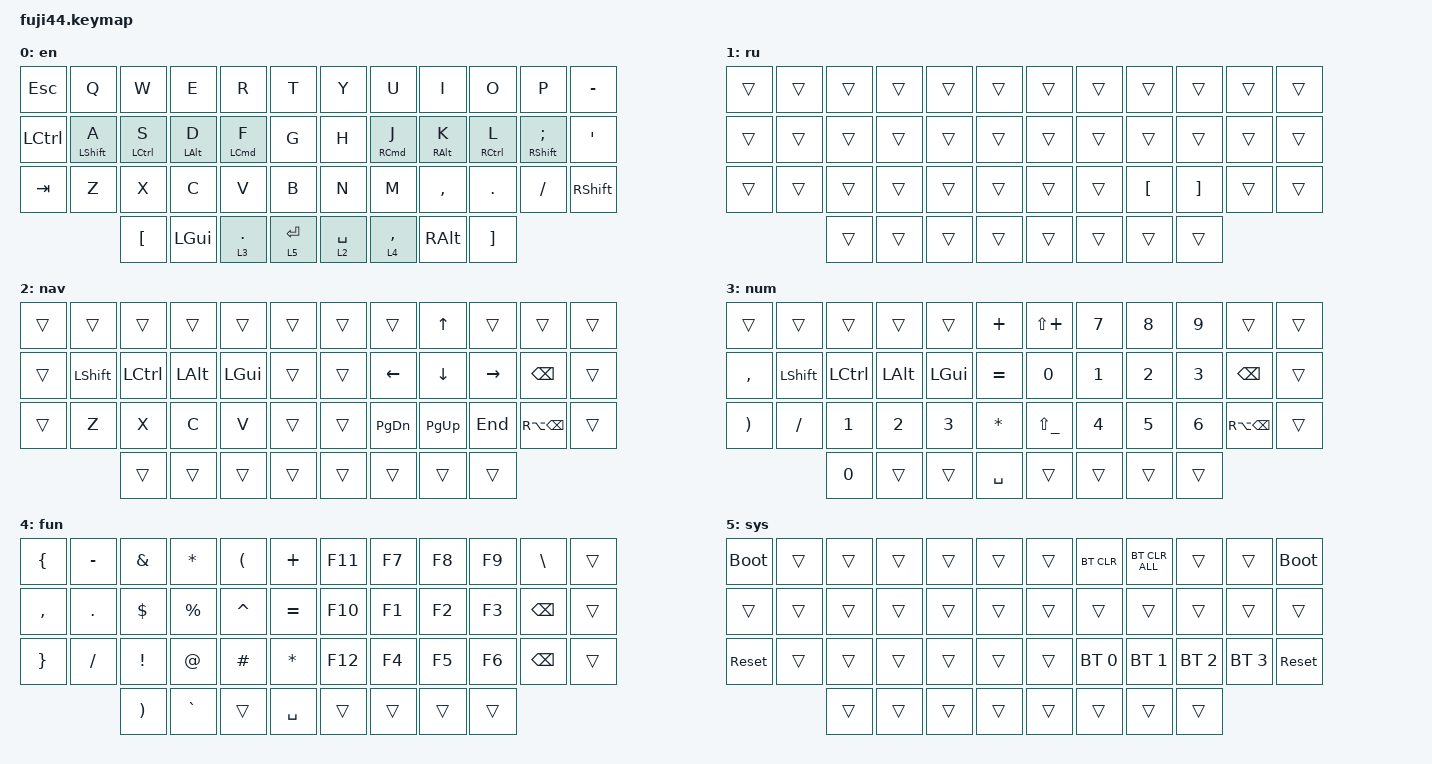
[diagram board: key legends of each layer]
/*
 * Copyright (c) 2020 The ZMK Contributors
 *
 * SPDX-License-Identifier: MIT
 */

#include <behaviors.dtsi>
#include <dt-bindings/zmk/bt.h>
#include <dt-bindings/zmk/keys.h>

/ {
    combos {
        compatible = "zmk,combos";

        combo_esc {
            timeout-ms = <50>;
            key-positions = <0 1>;
            bindings = <&kp ESC>;
        };
    };

    behaviors {
        ss_hs_modmorph: ss_hs_modmorph {
            compatible = "zmk,behavior-mod-morph";
            label = "SS_HS_MODMORPH";
            bindings = <&kp M>, <&kp RIGHT_BRACKET>;

            #binding-cells = <0>;
            mods = <(MOD_LSFT|MOD_RSFT)>;
        };

        kh_hs_tapdance: kh_hs_tapdance {
            compatible = "zmk,behavior-tap-dance";
            label = "KH_HS_TAPDANCE";
            #binding-cells = <0>;
            tapping-term-ms = <200>;
            bindings = <&kp LEFT_BRACKET>, <&kp RIGHT_BRACKET>;
        };

        hrm: hrm {
            compatible = "zmk,behavior-hold-tap";
            #binding-cells = <2>;
            flavor = "tap-preferred";
            tapping-term-ms = <200>;
            quick-tap-ms = <200>;
            require-prior-idle-ms = <125>;
            bindings = <&kp>, <&kp>;
        };
    };

    keymap {
        compatible = "zmk,keymap";

        en {
            bindings = <
&kp ESC    &kp Q              &kp W             &kp E            &kp R                &kp T          &kp Y        &kp U                 &kp I             &kp O              &kp P                       &kp MINUS
&kp LCTRL  &hrm LEFT_SHIFT A  &hrm LCTRL S      &hrm LEFT_ALT D  &hrm LEFT_COMMAND F  &kp G          &kp H        &hrm RIGHT_COMMAND J  &hrm RIGHT_ALT K  &hrm RCTRL L       &hrm RIGHT_SHIFT SEMICOLON  &kp SQT
&kp TAB    &kp Z              &kp X             &kp C            &kp V                &kp B          &kp N        &kp M                 &kp COMMA         &kp DOT            &kp FSLH                    &kp RIGHT_SHIFT
                              &kp LEFT_BRACKET  &kp LGUI         &lt 3 DOT            &lt 5 ENTER    &lt 2 SPACE  &lt 4 COMMA           &kp RALT          &kp RIGHT_BRACKET
            >;
        };

        ru {
            bindings = <
&trans  &trans  &trans  &trans  &trans  &trans    &trans  &trans  &trans            &trans             &trans  &trans
&trans  &trans  &trans  &trans  &trans  &trans    &trans  &trans  &trans            &trans             &trans  &trans
&trans  &trans  &trans  &trans  &trans  &trans    &trans  &trans  &kp LEFT_BRACKET  &kp RIGHT_BRACKET  &trans  &trans
                &trans  &trans  &trans  &trans    &trans  &trans  &trans            &trans
            >;
        };

        nav {
            bindings = <
&trans  &trans     &trans     &trans    &trans    &trans    &trans  &trans         &kp UP     &trans     &trans        &trans
&trans  &kp LSHFT  &kp LCTRL  &kp LALT  &kp LGUI  &trans    &trans  &kp LEFT       &kp DOWN   &kp RIGHT  &kp BSPC      &trans
&trans  &kp Z      &kp X      &kp C     &kp V     &trans    &trans  &kp PAGE_DOWN  &kp PG_UP  &kp END    &kp RA(BSPC)  &trans
                   &trans     &trans    &trans    &trans    &trans  &trans         &trans     &trans
            >;
        };

        num {
            bindings = <
&trans                 &trans     &trans        &trans        &trans        &kp PLUS        &kp LS(PLUS)   &kp N7  &kp N8  &kp N9  &trans        &trans
&kp COMMA              &kp LSHFT  &kp LCTRL     &kp LALT      &kp LGUI      &kp EQUAL       &kp N0         &kp N1  &kp N2  &kp N3  &kp BSPC      &trans
&kp RIGHT_PARENTHESIS  &kp SLASH  &kp NUMBER_1  &kp NUMBER_2  &kp NUMBER_3  &kp ASTERISK    &kp LS(UNDER)  &kp N4  &kp N5  &kp N6  &kp RA(BSPC)  &trans
                                  &kp N0        &trans        &trans        &kp SPACE       &trans         &trans  &trans  &trans
            >;
        };

        fun {
            bindings = <
&kp LEFT_BRACE   &kp MINUS  &kp AMPERSAND          &kp ASTERISK  &kp LEFT_PARENTHESIS  &kp PLUS        &kp F11  &kp F7  &kp F8  &kp F9  &kp BSLH  &trans
&kp COMMA        &kp DOT    &kp DOLLAR             &kp PERCENT   &kp CARET             &kp EQUAL       &kp F10  &kp F1  &kp F2  &kp F3  &kp BSPC  &trans
&kp RIGHT_BRACE  &kp SLASH  &kp EXCL               &kp AT_SIGN   &kp HASH              &kp ASTERISK    &kp F12  &kp F4  &kp F5  &kp F6  &kp BSPC  &trans
                            &kp RIGHT_PARENTHESIS  &kp GRAVE     &trans                &kp SPACE       &trans   &trans  &trans  &trans
            >;
        };

        sys {
            bindings = <
&bootloader  &trans  &trans  &trans  &trans  &trans    &trans  &bt BT_CLR    &bt BT_CLR_ALL  &trans        &trans        &bootloader
&trans       &trans  &trans  &trans  &trans  &trans    &trans  &trans        &trans          &trans        &trans        &trans
&sys_reset   &trans  &trans  &trans  &trans  &trans    &trans  &bt BT_SEL 0  &bt BT_SEL 1    &bt BT_SEL 2  &bt BT_SEL 3  &sys_reset
                     &trans  &trans  &trans  &trans    &trans  &trans        &trans          &trans
            >;
        };
    };
};
